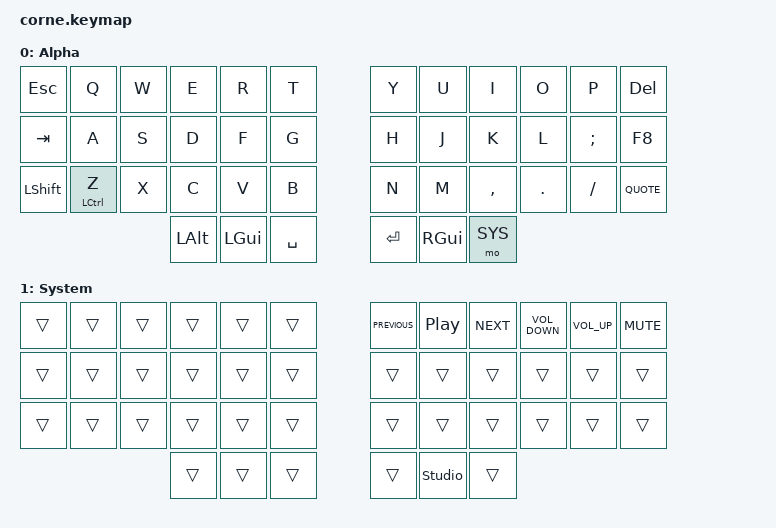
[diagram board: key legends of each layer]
#include <behaviors.dtsi>
#include <dt-bindings/zmk/keys.h>

/ {
    behaviors {
        new_behavior: new_behavior {
            compatible = "zmk,behavior-hold-tap";
            label = "NEW_BEHAVIOR";
            bindings = <&kp>, <&kp>;

            #binding-cells = <2>;
            tapping-term-ms = <160>;
            flavor = "tap-preferred";
            hold-trigger-key-positions = <25>;
        };
    };

    keymap {
        compatible = "zmk,keymap";

        Alpha {
            display-name = "Alpha";
            bindings = <
&kp ESCAPE      &kp Q        &kp W  &kp E         &kp R         &kp T        &kp Y      &kp U          &kp I      &kp O    &kp P      &kp DELETE
&kp TAB         &kp A        &kp S  &kp D         &kp F         &kp G        &kp H      &kp J          &kp K      &kp L    &kp SEMI   &kp F8
&kp LEFT_SHIFT  &mt LCTRL Z  &kp X  &kp C         &kp V         &kp B        &kp N      &kp M          &kp COMMA  &kp DOT  &kp SLASH  &kp QUOTE
                                    &kp LEFT_ALT  &kp LEFT_GUI  &kp SPACE    &kp ENTER  &kp RIGHT_GUI  &mo SYS
            >;
        };

        SYS {
            display-name = "System";
            bindings = <
&trans  &trans  &trans  &trans  &trans  &trans    &kp C_PREVIOUS  &kp C_PLAY_PAUSE  &kp C_NEXT  &kp C_VOLUME_DOWN  &kp C_VOL_UP  &kp C_MUTE
&trans  &trans  &trans  &trans  &trans  &trans    &trans          &trans            &trans      &trans             &trans        &trans
&trans  &trans  &trans  &trans  &trans  &trans    &trans          &trans            &trans      &trans             &trans        &trans
                        &trans  &trans  &trans    &trans          &studio_unlock    &trans
            >;
        };
    };

    combos {
        compatible = "zmk,combos";

        combo_left_lh {
            bindings = <&kp LEFT>;
            key-positions = <14 15>;
            timeout-ms = <40>;
            slow-release;
        };

        combo_right_lh {
            bindings = <&kp RIGHT>;
            key-positions = <15 16>;
            timeout-ms = <40>;
            slow-release;
        };

        combo_up_lh {
            bindings = <&kp UP>;
            key-positions = <3 16>;
            timeout-ms = <40>;
            slow-release;
        };

        combo_down_lh {
            bindings = <&kp DOWN>;
            key-positions = <15 28>;
            timeout-ms = <40>;
            slow-release;
        };

        combo_left_rh {
            bindings = <&kp LEFT>;
            key-positions = <20 19>;
            timeout-ms = <40>;
            slow-release;
        };

        combo_right_rh {
            bindings = <&kp RIGHT>;
            key-positions = <20 21>;
            timeout-ms = <40>;
            slow-release;
        };

        combo_up_rh {
            bindings = <&kp UP>;
            key-positions = <8 21>;
            timeout-ms = <40>;
            slow-release;
        };

        combo_down_rh {
            bindings = <&kp DOWN>;
            key-positions = <20 33>;
            timeout-ms = <40>;
            slow-release;
        };

        combo_backspace {
            bindings = <&kp BACKSPACE>;
            key-positions = <16 17>;
            timeout-ms = <40>;
            slow-release;
        };

        combo_return {
            bindings = <&kp RETURN>;
            key-positions = <28 29>;
            timeout-ms = <40>;
            slow-release;
        };

        combo_num_1 {
            bindings = <&kp N1>;
            key-positions = <0 1>;
            timeout-ms = <40>;
            slow-release;
        };

        combo_num_2 {
            bindings = <&kp N2>;
            key-positions = <1 2>;
            timeout-ms = <40>;
            slow-release;
        };

        combo_num_3 {
            bindings = <&kp N3>;
            key-positions = <2 3>;
            timeout-ms = <40>;
            slow-release;
        };

        combo_num_4 {
            bindings = <&kp N4>;
            key-positions = <4 3>;
            timeout-ms = <40>;
            slow-release;
        };

        combo_num_5 {
            bindings = <&kp N5>;
            key-positions = <4 5>;
            timeout-ms = <40>;
            slow-release;
        };

        combo_num_6 {
            bindings = <&kp N6>;
            key-positions = <6 7>;
            timeout-ms = <40>;
            slow-release;
        };

        combo_num_7 {
            bindings = <&kp N7>;
            key-positions = <7 8>;
            timeout-ms = <40>;
            slow-release;
        };

        combo_num_8 {
            bindings = <&kp N8>;
            key-positions = <8 9>;
            timeout-ms = <40>;
            slow-release;
        };

        combo_num_9 {
            bindings = <&kp N9>;
            key-positions = <9 10>;
            timeout-ms = <40>;
            slow-release;
        };

        combo_num_0 {
            bindings = <&kp N0>;
            key-positions = <11 10>;
            timeout-ms = <40>;
            slow-release;
        };

        combo_leftbrace {
            bindings = <&kp LEFT_BRACKET>;
            key-positions = <30 31>;
        };

        combo_rightbrace {
            bindings = <&kp RIGHT_BRACKET>;
            key-positions = <32 31>;
        };
    };

    conditional_layers { compatible = "zmk,conditional-layers"; };
};
